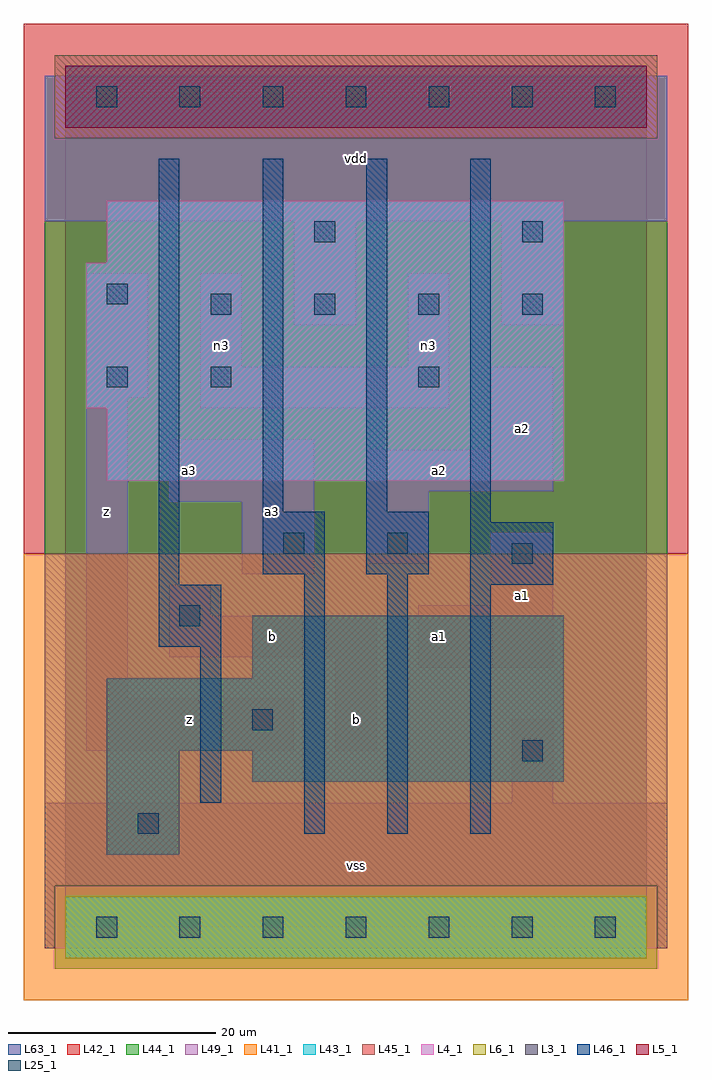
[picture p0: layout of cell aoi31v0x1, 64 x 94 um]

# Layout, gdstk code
import gdstk
lib = gdstk.Library(unit=1e-6, precision=1e-09)
def R(c, l, rs):  # rectangles x0, y0, x1, y1
    for r in rs: c.add(gdstk.rectangle(r[:2], r[2:], *l))
def A(c, l, x, y, w, h, nx, ny, dx, dy):  # array of equal rectangles
    R(c, l, [(x+i*dx, y+j*dy, x+i*dx+w, y+j*dy+h) for i in range(nx) for j in range(ny)])
L3_1 = (3, 1)
L4_1 = (4, 1)
L5_1 = (5, 1)
L6_1 = (6, 1)
L25_1 = (25, 1)
L41_1 = (41, 1)
L42_1 = (42, 1)
L43_1 = (43, 1)
L44_1 = (44, 1)
L45_1 = (45, 1)
L46_1 = (46, 1)
L49_1 = (49, 1)
L63_1 = (63, 1)

aoi31v0x1 = lib.new_cell('aoi31v0x1')
R(aoi31v0x1, L3_1, [(4,7,11,17), (18,14,48,17), (4,17,48,24), (18,24,48,30)])
R(aoi31v0x1, L4_1, [(4,43,48,50), (2,50,48,64), (4,64,48,70)])
R(aoi31v0x1, L5_1, [(0,77,56,83)])
R(aoi31v0x1, L6_1, [(0,-3,56,3), (0,-3,56,3)])
A(aoi31v0x1, L25_1, 3, -1, 2, 2, 7, 2, 8, 80)
A(aoi31v0x1, L25_1, 14, 59, 2, 2, 4, 1, 10, 0)
R(aoi31v0x1, L25_1, [(7,9,9,11), (44,16,46,18), (18,19,20,21), (11,29,13,31), (43,35,45,37), (21,36,23,38), (31,36,33,38), (4,52,6,54), (14,52,16,54), (34,52,36,54), (4,60,6,62), (24,66,26,68), (44,66,46,68)])
R(aoi31v0x1, L41_1, [(-4,-7,60,36)])
R(aoi31v0x1, L42_1, [(-4,36,60,87)])
R(aoi31v0x1, L43_1, [(0,-3,56,3), (4,7,11,17), (18,14,48,17), (4,17,48,24), (18,24,48,30), (4,43,48,50), (2,50,48,64), (4,64,48,70), (0,77,56,83)])
R(aoi31v0x1, L44_1, [(-1,-4,57,4), (-2,36,58,76), (-2,76,-1,82), (57,76,58,82)])
R(aoi31v0x1, L45_1, [(-2,-2,-1,4), (57,-2,58,4), (-2,4,58,36), (-1,76,57,84)])
R(aoi31v0x1, L46_1, [(23,9,25,34), (31,9,33,34), (39,9,41,33), (13,12,15,27), (9,27,15,33), (9,33,11,74), (39,33,47,39), (19,34,25,40), (29,34,35,40), (39,39,41,74), (19,40,21,74), (29,40,31,74)])
R(aoi31v0x1, L49_1, [(-2,-2,58,12), (43,12,47,20), (2,17,22,22), (26,17,30,26), (2,22,6,51), (34,25,47,31), (10,26,30,30), (10,30,14,33), (41,31,47,38), (17,34,24,41), (29,35,35,42), (10,41,24,47), (29,42,47,46), (41,46,47,54), (13,50,37,54), (2,51,8,63), (13,54,17,63), (33,54,37,63), (22,58,28,68), (42,58,48,68), (-2,68,58,82)])
R(aoi31v0x1, L63_1, [(0,0,56,80)])
aoi31v0x1.add(gdstk.Label('z', (4,40), layer=49, texttype=1))
aoi31v0x1.add(gdstk.Label('z', (12,20), layer=49, texttype=1))
aoi31v0x1.add(gdstk.Label('a3', (12,44), layer=49, texttype=1))
aoi31v0x1.add(gdstk.Label('n3', (15,56), layer=49, texttype=1))
aoi31v0x1.add(gdstk.Label('vss', (28,6), layer=49, texttype=1))
aoi31v0x1.add(gdstk.Label('b', (20,28), layer=49, texttype=1))
aoi31v0x1.add(gdstk.Label('b', (28,20), layer=49, texttype=1))
aoi31v0x1.add(gdstk.Label('a3', (20,40), layer=49, texttype=1))
aoi31v0x1.add(gdstk.Label('vdd', (28,74), layer=49, texttype=1))
aoi31v0x1.add(gdstk.Label('a1', (36,28), layer=49, texttype=1))
aoi31v0x1.add(gdstk.Label('a1', (44,32), layer=49, texttype=1))
aoi31v0x1.add(gdstk.Label('a2', (36,44), layer=49, texttype=1))
aoi31v0x1.add(gdstk.Label('a2', (44,48), layer=49, texttype=1))
aoi31v0x1.add(gdstk.Label('n3', (35,56), layer=49, texttype=1))

lib.write_gds('aoi31v0x1.gds')
